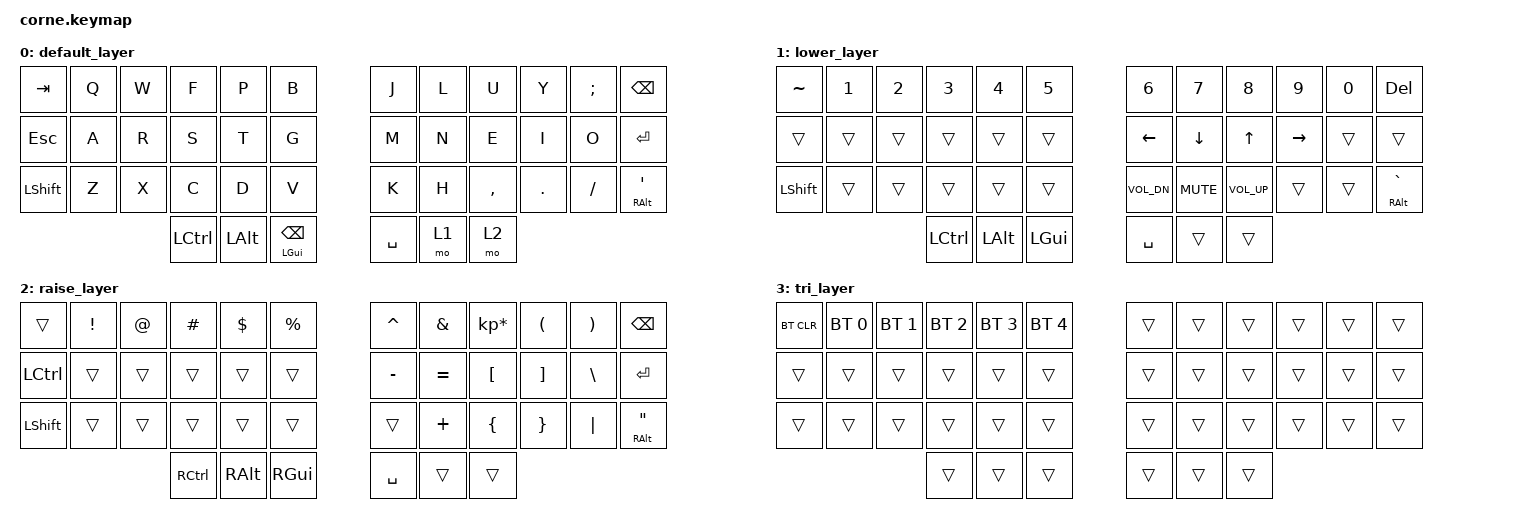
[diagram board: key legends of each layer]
/*
 * Copyright (c) 2020 The ZMK Contributors
 *
 * SPDX-License-Identifier: MIT
 */

#include <behaviors.dtsi>
#include <dt-bindings/zmk/keys.h>
#include <dt-bindings/zmk/bt.h>

#define ___ &trans


/ {
	conditional_layers {
		compatible = "zmk,conditional-layers";
		tri_layer {
			if-layers = <1 2>;
			then-layer = <3>;
		};
	};

	keymap {
    	compatible = "zmk,keymap";

		default_layer {
        	bindings = <
     // ╭─────────────┬─────────────┬─────────────┬─────────────┬─────────────┬─────────────╮   ╭─────────────┬─────────────┬─────────────┬─────────────┬─────────────┬─────────────╮
            &kp TAB        &kp Q         &kp W         &kp F         &kp P         &kp B             &kp J         &kp L         &kp U         &kp Y        &kp SEMI      &kp BSPC
     // ├─────────────┼─────────────┼─────────────┼─────────────┼─────────────┼─────────────┤   ├─────────────┼─────────────┼─────────────┼─────────────┼─────────────┼─────────────┤
            &kp ESC        &kp A         &kp R         &kp S         &kp T         &kp G             &kp M         &kp N         &kp E         &kp I         &kp O        &kp RET
     // ├─────────────┼─────────────┼─────────────┼─────────────┼─────────────┼─────────────┤   ├─────────────┼─────────────┼─────────────┼─────────────┼─────────────┼─────────────┤
            &kp LSHFT      &kp Z         &kp X         &kp C         &kp D         &kp V             &kp K         &kp H        &kp COMMA      &kp DOT      &kp FSLH    &mt RALT SQT
     // ╰─────────────┴─────────────┴─────────────┼─────────────┼─────────────┼─────────────┤   ├─────────────┼─────────────┼─────────────┼─────────────┴─────────────┴─────────────╯
                                                      &kp LCTRL     &kp LALT   &mt LGUI BSPC        &kp SPACE      &mo 1         &mo 2
     //                                           ╰─────────────┴─────────────┴─────────────╯   ╰─────────────┴─────────────┴─────────────╯
			>;
		};

		lower_layer {
			bindings = <
     // ╭─────────────┬─────────────┬─────────────┬─────────────┬─────────────┬─────────────╮   ╭─────────────┬─────────────┬─────────────┬─────────────┬─────────────┬─────────────╮
           &kp TILDE       &kp N1        &kp N2        &kp N3        &kp N4        &kp N5            &kp N6        &kp N7        &kp N8        &kp N9        &kp N0        &kp DEL
     // ├─────────────┼─────────────┼─────────────┼─────────────┼─────────────┼─────────────┤   ├─────────────┼─────────────┼─────────────┼─────────────┼─────────────┼─────────────┤
              ___           ___           ___           ___           ___           ___             &kp LEFT      &kp DOWN       &kp UP       &kp RIGHT       ___           ___
     // ├─────────────┼─────────────┼─────────────┼─────────────┼─────────────┼─────────────┤   ├─────────────┼─────────────┼─────────────┼─────────────┼─────────────┼─────────────┤
           &kp LSHFT        ___           ___           ___           ___           ___           &kp C_VOL_DN   &kp C_MUTE   &kp C_VOL_UP      ___           ___      &mt RALT GRAVE
     // ╰─────────────┴─────────────┴─────────────┼─────────────┼─────────────┼─────────────┤   ├─────────────┼─────────────┼─────────────┼─────────────┴─────────────┴─────────────╯
                                                      &kp LCTRL     &kp LALT      &kp LGUI          &kp SPACE       ___           ___
     //                                           ╰─────────────┴─────────────┴─────────────╯   ╰─────────────┴─────────────┴─────────────╯
			>;
		};
 
		raise_layer {
			bindings = <
     // ╭─────────────┬─────────────┬─────────────┬─────────────┬─────────────┬─────────────╮   ╭─────────────┬─────────────┬─────────────┬─────────────┬─────────────┬─────────────╮
              ___         &kp EXCL       &kp AT       &kp HASH     &kp DLLR      &kp PRCNT         &kp CARET      &kp AMPS   &kp KP_MULTIPLY  &kp LPAR      &kp RPAR      &kp BSPC
     // ├─────────────┼─────────────┼─────────────┼─────────────┼─────────────┼─────────────┤   ├─────────────┼─────────────┼─────────────┼─────────────┼─────────────┼─────────────┤
           &kp LCTRL        ___           ___           ___           ___           ___            &kp MINUS      &kp EQUAL     &kp LBKT      &kp RBKT      &kp BSLH      &kp RET
     // ├─────────────┼─────────────┼─────────────┼─────────────┼─────────────┼─────────────┤   ├─────────────┼─────────────┼─────────────┼─────────────┼─────────────┼─────────────┤
           &kp LSHFT        ___           ___           ___           ___           ___               ___         &kp PLUS      &kp LBRC      &kp RBRC      &kp PIPE    &mt RALT DQT
     // ╰─────────────┴─────────────┴─────────────┼─────────────┼─────────────┼─────────────┤   ├─────────────┼─────────────┼─────────────┼─────────────┴─────────────┴─────────────╯
                                                      &kp RCTRL     &kp RALT      &kp RGUI          &kp SPACE       ___           ___
     //                                           ╰─────────────┴─────────────┴─────────────╯   ╰─────────────┴─────────────┴─────────────╯
			>;
		};

		tri_layer {
			bindings = <
     // ╭─────────────┬─────────────┬─────────────┬─────────────┬─────────────┬─────────────╮   ╭─────────────┬─────────────┬─────────────┬─────────────┬─────────────┬─────────────╮
           &bt BT_CLR   &bt BT_SEL 0  &bt BT_SEL 1  &bt BT_SEL 2  &bt BT_SEL 3  &bt BT_SEL 4          ___           ___           ___           ___           ___           ___
     // ├─────────────┼─────────────┼─────────────┼─────────────┼─────────────┼─────────────┤   ├─────────────┼─────────────┼─────────────┼─────────────┼─────────────┼─────────────┤
              ___           ___           ___           ___           ___           ___               ___           ___           ___           ___           ___           ___
     // ├─────────────┼─────────────┼─────────────┼─────────────┼─────────────┼─────────────┤   ├─────────────┼─────────────┼─────────────┼─────────────┼─────────────┼─────────────┤
              ___           ___           ___           ___           ___           ___               ___           ___           ___           ___           ___           ___
     // ╰─────────────┴─────────────┴─────────────┼─────────────┼─────────────┼─────────────┤   ├─────────────┼─────────────┼─────────────┼─────────────┴─────────────┴─────────────╯
                                                        ___           ___           ___               ___           ___           ___
     //                                           ╰─────────────┴─────────────┴─────────────╯   ╰─────────────┴─────────────┴─────────────╯
			>;
		};

	};
};
